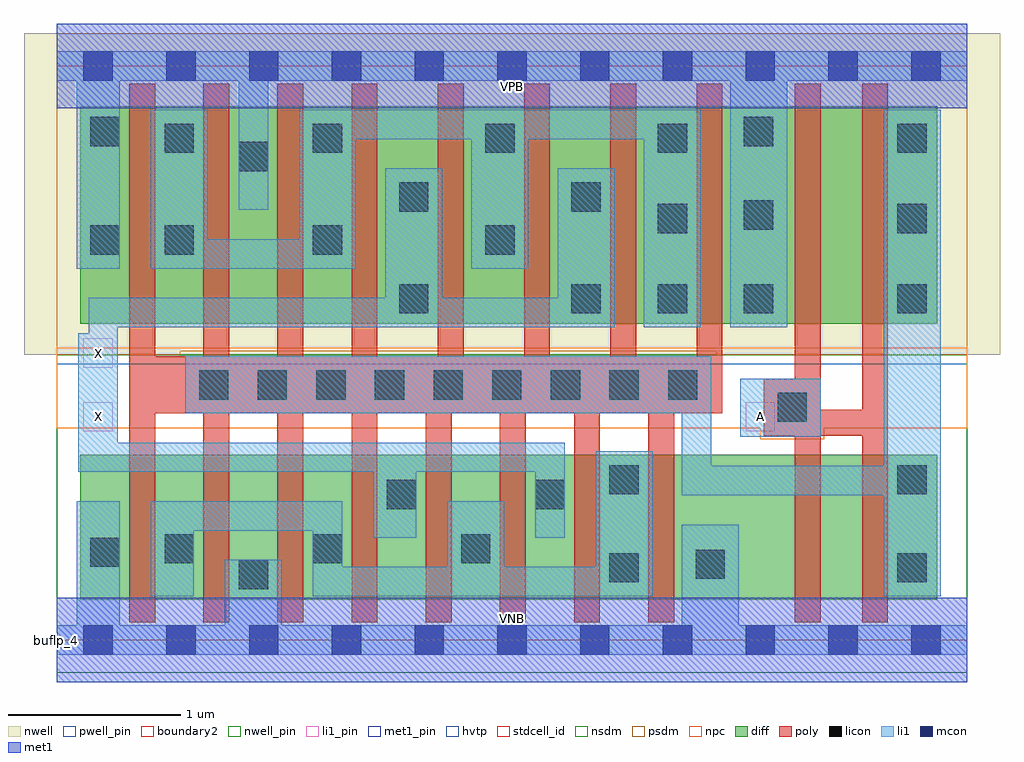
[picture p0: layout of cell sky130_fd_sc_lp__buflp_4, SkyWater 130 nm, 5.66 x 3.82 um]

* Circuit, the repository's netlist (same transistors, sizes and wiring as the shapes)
* Copyright 2020 The SkyWater PDK Authors
*
* Licensed under the Apache License, Version 2.0 (the "License");
* you may not use this file except in compliance with the License.
* You may obtain a copy of the License at
*
*     https://www.apache.org/licenses/LICENSE-2.0
*
* Unless required by applicable law or agreed to in writing, software
* distributed under the License is distributed on an "AS IS" BASIS,
* WITHOUT WARRANTIES OR CONDITIONS OF ANY KIND, either express or implied.
* See the License for the specific language governing permissions and
* limitations under the License.
*
* SPDX-License-Identifier: Apache-2.0

.SUBCKT sky130_fd_sc_lp__buflp_4 A VGND VNB VPB VPWR X
*.PININFO A:I VGND:I VNB:I VPB:I VPWR:I X:O
MMIN1 Ab A net27 VNB sky130_fd_pr__nfet_01v8 m=1 w=0.84U l=0.15U mult=1 sa=0.265
+ sb=0.265 sd=0.28 area=0.063 perim=1.14
MMIN2 X Ab net31 VNB sky130_fd_pr__nfet_01v8 m=4 w=0.84U l=0.15U mult=1 sa=0.265
+ sb=0.265 sd=0.28 area=0.063 perim=1.14
MI7 net31 Ab VGND VNB sky130_fd_pr__nfet_01v8 m=4 w=0.84U l=0.15U mult=1 sa=0.265
+ sb=0.265 sd=0.28 area=0.063 perim=1.14
MI6 net27 A VGND VNB sky130_fd_pr__nfet_01v8 m=1 w=0.84U l=0.15U mult=1 sa=0.265
+ sb=0.265 sd=0.28 area=0.063 perim=1.14
MMIP1 Ab A net43 VPB sky130_fd_pr__pfet_01v8_hvt m=1 w=1.26U l=0.15U mult=1 sa=0.265
+ sb=0.265 sd=0.28 area=0.063 perim=1.14
MMIP2 X Ab net36 VPB sky130_fd_pr__pfet_01v8_hvt m=4 w=1.26U l=0.15U mult=1 sa=0.265
+ sb=0.265 sd=0.28 area=0.063 perim=1.14
MI4 net43 A VPWR VPB sky130_fd_pr__pfet_01v8_hvt m=1 w=1.26U l=0.15U mult=1 sa=0.265
+ sb=0.265 sd=0.28 area=0.063 perim=1.14
MI5 net36 Ab VPWR VPB sky130_fd_pr__pfet_01v8_hvt m=4 w=1.26U l=0.15U mult=1 sa=0.265
+ sb=0.265 sd=0.28 area=0.063 perim=1.14
.ENDS sky130_fd_sc_lp__buflp_4

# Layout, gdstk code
import gdstk
lib = gdstk.Library(unit=1e-6, precision=1e-09)
def R(c, l, rs):  # rectangles x0, y0, x1, y1
    for r in rs: c.add(gdstk.rectangle(r[:2], r[2:], *l))
def A(c, l, x, y, w, h, nx, ny, dx, dy):  # array of equal rectangles
    R(c, l, [(x+i*dx, y+j*dy, x+i*dx+w, y+j*dy+h) for i in range(nx) for j in range(ny)])
def P(c, l, *ps):  # polygons
    for p in ps: c.add(gdstk.Polygon(p, *l))
nwell_pin = (64, 16)
nwell = (64, 20)
diff = (65, 20)
poly = (66, 20)
licon = (66, 44)
li1_pin = (67, 16)
li1 = (67, 20)
mcon = (67, 44)
met1_pin = (68, 16)
met1 = (68, 20)
hvtp = (78, 44)
stdcell_id = (81, 4)
nsdm = (93, 44)
psdm = (94, 20)
npc = (95, 20)
pwell_pin = (122, 16)
boundary2 = (236, 0)

sky130_fd_sc_lp__buflp_4 = lib.new_cell('sky130_fd_sc_lp__buflp_4')
R(sky130_fd_sc_lp__buflp_4, nwell_pin, [(0,3.085,5.28,3.33)])
R(sky130_fd_sc_lp__buflp_4, nwell, [(-0.19,1.655,5.47,3.52)])
R(sky130_fd_sc_lp__buflp_4, diff, [(0.135,0.235,5.105,1.075), (0.135,1.835,5.105,3.095)])
P(sky130_fd_sc_lp__buflp_4, poly, [(3.86,3.225),(3.71,3.225),(3.71,1.645),(3.36,1.645),(3.36,3.225),(3.21,3.225),(3.21,1.645),(2.86,1.645),(2.86,3.225),(2.71,3.225),(2.71,1.645),(2.36,1.645),(2.36,3.225),(2.21,3.225),(2.21,1.645),(1.86,1.645),(1.86,3.225),(1.71,3.225),(1.71,1.645),(1.43,1.645),(1.43,3.225),(1.28,3.225),(1.28,1.645),(1,1.645),(1,3.225),(0.85,3.225),(0.85,1.645),(0.57,1.645),(0.57,3.225),(0.42,3.225),(0.42,0.105),(0.57,0.105),(0.57,1.315),(0.85,1.315),(0.85,0.105),(1,0.105),(1,1.315),(1.28,1.315),(1.28,0.105),(1.43,0.105),(1.43,1.315),(1.71,1.315),(1.71,0.105),(1.86,0.105),(1.86,1.315),(2.14,1.315),(2.14,0.105),(2.29,0.105),(2.29,1.315),(2.57,1.315),(2.57,0.105),(2.72,0.105),(2.72,1.315),(3,1.315),(3,0.105),(3.15,0.105),(3.15,1.315),(3.43,1.315),(3.43,0.105),(3.58,0.105),(3.58,1.315),(3.86,1.315)],
  [(4.82,3.225),(4.67,3.225),(4.67,1.335),(4.43,1.335),(4.43,3.225),(4.28,3.225),(4.28,1.515),(4.1,1.515),(4.1,1.185),(4.28,1.185),(4.28,0.105),(4.43,0.105),(4.43,1.185),(4.67,1.185),(4.67,0.105),(4.82,0.105)])
A(sky130_fd_sc_lp__buflp_4, licon, 0.625, 0.445, 0.17, 0.17, 3, 1, 0.86, 0)
A(sky130_fd_sc_lp__buflp_4, licon, 0.825, 1.395, 0.17, 0.17, 9, 1, 0.34, 0)
A(sky130_fd_sc_lp__buflp_4, licon, 2.985, 1.895, 0.17, 0.17, 3, 1, 0.5, 0)
A(sky130_fd_sc_lp__buflp_4, licon, 4.875, 1.895, 0.17, 0.17, 1, 3, 0, 0.465)
A(sky130_fd_sc_lp__buflp_4, licon, 1.485, 2.825, 0.17, 0.17, 3, 1, 1, 0)
R(sky130_fd_sc_lp__buflp_4, licon, [(1.055,0.295,1.225,0.465), (3.205,0.335,3.375,0.505), (4.875,0.335,5.045,0.505), (3.705,0.355,3.875,0.525), (0.195,0.425,0.365,0.595), (1.915,0.76,2.085,0.93), (2.775,0.76,2.945,0.93), (3.205,0.845,3.375,1.015), (4.875,0.845,5.045,1.015), (4.18,1.265,4.35,1.435), (1.985,1.895,2.155,2.065), (0.195,2.235,0.365,2.405), (0.625,2.235,0.795,2.405), (1.485,2.235,1.655,2.405), (2.485,2.235,2.655,2.405), (3.485,2.36,3.655,2.53), (3.985,2.38,4.155,2.55), (1.985,2.485,2.155,2.655), (2.985,2.485,3.155,2.655), (1.055,2.72,1.225,2.89), (0.625,2.825,0.795,2.995), (0.195,2.865,0.365,3.035), (3.985,2.865,4.155,3.035)])
R(sky130_fd_sc_lp__buflp_4, li1_pin, [(0.155,1.21,0.325,1.38), (3.995,1.21,4.165,1.38), (0.155,1.58,0.325,1.75)])
R(sky130_fd_sc_lp__buflp_4, li1, [(3.965,1.18,4.43,1.515)])
P(sky130_fd_sc_lp__buflp_4, li1, [(3.905,1.815),(3.905,3.245),(1.225,3.245),(1.225,2.495),(1.055,2.495),(1.055,3.245),(0.365,3.245),(0.365,2.155),(0.115,2.155),(0.115,3.245),(0,3.245),(0,3.415),(5.28,3.415),(5.28,3.245),(4.235,3.245),(4.235,1.815)],
  [(0.975,0.085),(0.975,0.465),(1.305,0.465),(1.305,0.085),(3.625,0.085),(3.625,0.67),(3.955,0.67),(3.955,0.085),(5.28,0.085),(5.28,-0.085),(0,-0.085),(0,0.085),(0.115,0.085),(0.115,0.805),(0.365,0.805),(0.365,0.085)],
  [(0.355,1.145),(2.945,1.145),(2.945,0.595),(2.775,0.595),(2.775,0.975),(2.085,0.975),(2.085,0.595),(1.835,0.595),(1.835,0.975),(0.125,0.975),(0.125,1.78),(0.185,1.78),(0.185,1.985),(1.905,1.985),(1.905,2.735),(2.235,2.735),(2.235,1.985),(2.905,1.985),(2.905,2.735),(3.235,2.735),(3.235,1.815),(0.355,1.815)],
  [(3.625,0.84),(3.625,1.315),(0.745,1.315),(0.745,1.645),(3.795,1.645),(3.795,1.01),(4.795,1.01),(4.795,3.075),(5.125,3.075),(5.125,0.255),(4.795,0.255),(4.795,0.84)],
  [(1.485,0.255),(1.485,0.635),(0.795,0.635),(0.795,0.255),(0.545,0.255),(0.545,0.805),(1.655,0.805),(1.655,0.425),(2.265,0.425),(2.265,0.805),(2.595,0.805),(2.595,0.425),(3.125,0.425),(3.125,1.095),(3.455,1.095),(3.455,0.255)],
  [(1.405,2.325),(1.405,3.075),(3.735,3.075),(3.735,1.815),(3.405,1.815),(3.405,2.905),(2.735,2.905),(2.735,2.155),(2.405,2.155),(2.405,2.905),(1.735,2.905),(1.735,2.155),(0.545,2.155),(0.545,3.075),(0.875,3.075),(0.875,2.325)])
A(sky130_fd_sc_lp__buflp_4, mcon, 0.155, -0.085, 0.17, 0.17, 11, 2, 0.48, 3.33)
R(sky130_fd_sc_lp__buflp_4, met1_pin, [(0,0,5.28,0.245), (0,3.085,5.28,3.33)])
R(sky130_fd_sc_lp__buflp_4, met1, [(0,-0.245,5.28,0.245), (0,3.085,5.28,3.575)])
R(sky130_fd_sc_lp__buflp_4, hvtp, [(0,1.6,5.28,3.33)])
R(sky130_fd_sc_lp__buflp_4, stdcell_id, [(0,0,5.28,3.33)])
R(sky130_fd_sc_lp__buflp_4, nsdm, [(0,-0.19,5.28,1.655)])
P(sky130_fd_sc_lp__buflp_4, psdm, [(5.28,3.52),(0,3.52),(0,1.655),(0.715,1.655),(0.715,1.675),(3.825,1.675),(3.825,1.655),(5.28,1.655)])
P(sky130_fd_sc_lp__buflp_4, npc, [(5.28,1.695),(0,1.695),(0,1.23),(4.08,1.23),(4.08,1.165),(4.45,1.165),(4.45,1.23),(5.28,1.23)])
R(sky130_fd_sc_lp__buflp_4, pwell_pin, [(0,0,5.28,0.245)])
R(sky130_fd_sc_lp__buflp_4, boundary2, [(0,0,5.28,3.33)])
sky130_fd_sc_lp__buflp_4.add(gdstk.Label('VNB', (2.64,0.123), layer=64, texttype=59))
sky130_fd_sc_lp__buflp_4.add(gdstk.Label('VPB', (2.64,3.208), layer=64, texttype=5))
sky130_fd_sc_lp__buflp_4.add(gdstk.Label('buflp_4', (0,0), layer=83, texttype=44))
sky130_fd_sc_lp__buflp_4.add(gdstk.Label('VPWR', (2.64,3.208), layer=68, texttype=5))
sky130_fd_sc_lp__buflp_4.add(gdstk.Label('VGND', (2.64,0.123), layer=68, texttype=5))
sky130_fd_sc_lp__buflp_4.add(gdstk.Label('A', (4.08,1.295), layer=67, texttype=5))
sky130_fd_sc_lp__buflp_4.add(gdstk.Label('X', (0.24,1.295), layer=67, texttype=5))
sky130_fd_sc_lp__buflp_4.add(gdstk.Label('X', (0.24,1.665), layer=67, texttype=5))

lib.write_gds('sky130_fd_sc_lp__buflp_4.gds')
